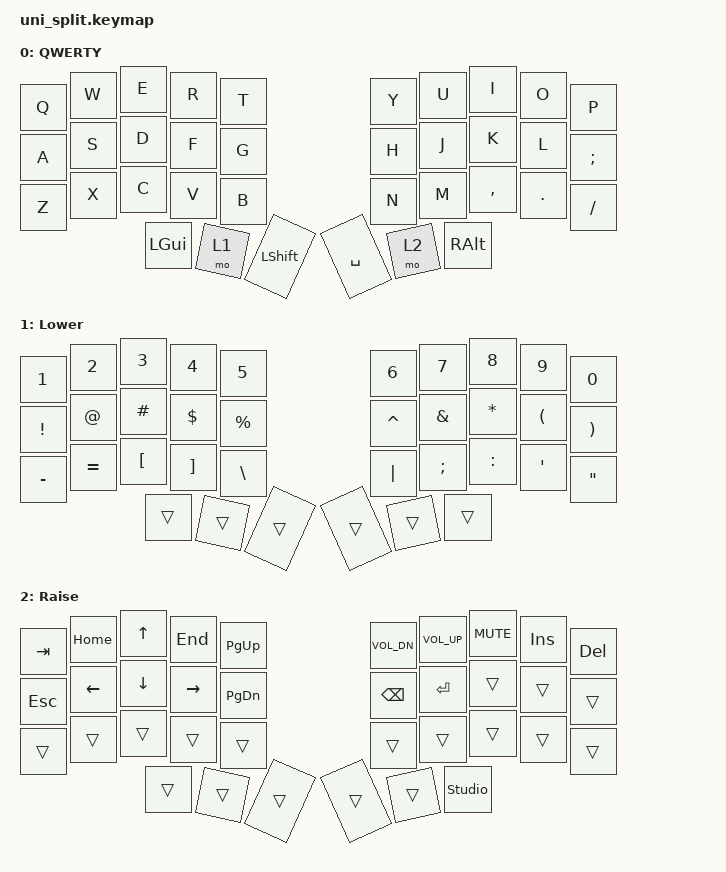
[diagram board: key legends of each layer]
// Basic keymap for the uni-split (5x3+3, 36 keys).
//
// Matrix/transform order:
//   row 0: Q  W  E  R  T   Y  U  I  O  P
//   row 1: A  S  D  F  G   H  J  K  L  ;
//   row 2: Z  X  C  V  B   N  M  ,  .  /
//   row 3 (thumbs):  LGUI LWR LSHFT | SPACE RSE RALT
//
// Layer 0 (default): QWERTY
// Layer 1 (lower):   numbers and symbols
// Layer 2 (raise):   navigation, media, and ZMK Studio unlock

#include <behaviors.dtsi>
#include <dt-bindings/zmk/keys.h>

/ {
    keymap {
        compatible = "zmk,keymap";

        default_layer {
            display-name = "QWERTY";
            bindings = <
                &kp Q   &kp W   &kp E   &kp R   &kp T      &kp Y   &kp U   &kp I     &kp O    &kp P
                &kp A   &kp S   &kp D   &kp F   &kp G      &kp H   &kp J   &kp K     &kp L    &kp SEMI
                &kp Z   &kp X   &kp C   &kp V   &kp B      &kp N   &kp M   &kp COMMA &kp DOT  &kp FSLH
                                &kp LGUI &mo 1  &kp LSHFT  &kp SPACE &mo 2  &kp RALT
            >;
        };

        lower_layer {
            display-name = "Lower";
            bindings = <
                &kp N1  &kp N2  &kp N3  &kp N4  &kp N5     &kp N6  &kp N7  &kp N8    &kp N9   &kp N0
                &kp EXCL &kp AT &kp HASH &kp DLLR &kp PRCNT &kp CARET &kp AMPS &kp ASTRK &kp LPAR &kp RPAR
                &kp MINUS &kp EQUAL &kp LBKT &kp RBKT &kp BSLH &kp PIPE &kp SEMI &kp COLON &kp SQT &kp DQT
                                &trans  &trans  &trans     &trans  &trans  &trans
            >;
        };

        raise_layer {
            display-name = "Raise";
            bindings = <
                &kp TAB  &kp HOME &kp UP   &kp END  &kp PG_UP    &kp C_VOL_DN &kp C_VOL_UP &kp C_MUTE &kp INS &kp DEL
                &kp ESC  &kp LEFT &kp DOWN &kp RIGHT &kp PG_DN   &kp BSPC     &kp RET      &trans     &trans   &trans
                &trans   &trans   &trans   &trans   &trans       &trans       &trans       &trans     &trans   &trans
                                         &trans   &trans   &trans       &trans       &trans       &studio_unlock
            >;
        };
    };
};
